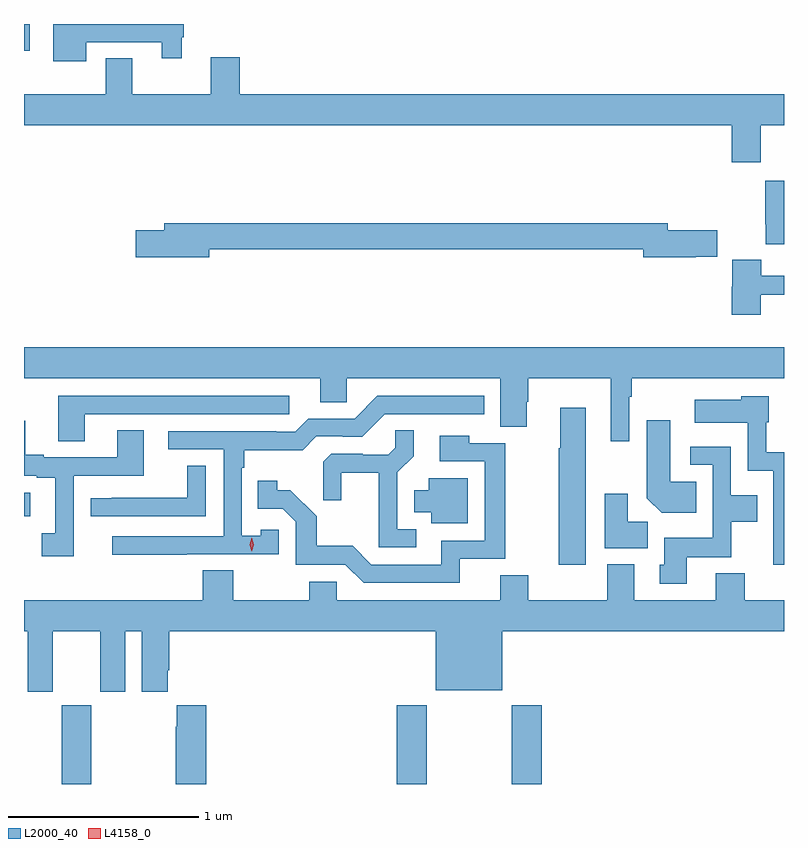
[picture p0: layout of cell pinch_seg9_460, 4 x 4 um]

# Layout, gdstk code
import gdstk
lib = gdstk.Library(unit=1e-6, precision=1e-09)
def R(c, l, rs):  # rectangles x0, y0, x1, y1
    for r in rs: c.add(gdstk.rectangle(r[:2], r[2:], *l))
def P(c, l, *ps):  # polygons
    for p in ps: c.add(gdstk.Polygon(p, *l))
L2000_40 = (2000, 40)
L4158_0 = (4158, 0)

pinch_seg9_460 = lib.new_cell('pinch_seg9_460')
R(pinch_seg9_460, L2000_40, [(350.317,1196.949,350.472,1197.364), (352.079,1196.949,352.239,1197.364), (352.684,1196.949,352.844,1197.364), (350.118,1198.359,350.152,1198.483), (350.118,1200.807,350.148,1200.949)])
P(pinch_seg9_460, L2000_40, [(350.446,1200.854),(350.843,1200.854),(350.843,1200.768),(350.947,1200.768),(350.947,1200.88),(350.96,1200.88),(350.96,1200.949),(350.273,1200.949),(350.273,1200.752),(350.446,1200.752)],
  [(353.995,1200.416),(354.118,1200.416),(354.118,1200.58),(351.254,1200.58),(351.254,1200.775),(351.101,1200.775),(351.101,1200.58),(350.689,1200.58),(350.689,1200.769),(350.549,1200.769),(350.549,1200.58),(350.118,1200.58),(350.118,1200.416),(353.843,1200.416),(353.843,1200.222),(353.995,1200.222)],
  [(354.118,1200.124),(354.02,1200.124),(354.02,1199.896),(354.022,1199.896),(354.022,1199.789),(354.118,1199.789)],
  [(351.094,1199.764),(353.378,1199.764),(353.378,1199.722),(353.654,1199.722),(353.654,1199.724),(353.767,1199.724),(353.767,1199.864),(353.506,1199.864),(353.506,1199.9),(350.855,1199.9),(350.855,1199.864),(350.706,1199.864),(350.706,1199.722),(351.094,1199.722)],
  [(353.995,1199.523),(354.118,1199.523),(354.118,1199.623),(353.998,1199.623),(353.998,1199.707),(353.846,1199.707),(353.846,1199.565),(353.843,1199.565),(353.843,1199.418),(353.995,1199.418)],
  [(353.304,1198.988),(353.317,1198.988),(353.317,1199.084),(354.118,1199.084),(354.118,1199.248),(350.118,1199.248),(350.118,1199.084),(351.677,1199.084),(351.677,1198.957),(351.816,1198.957),(351.816,1199.084),(352.625,1199.084),(352.625,1198.828),(352.765,1198.828),(352.765,1198.962),(352.773,1198.962),(352.773,1199.084),(353.207,1199.084),(353.207,1198.752),(353.304,1198.752)],
  [(350.437,1198.896),(351.514,1198.896),(351.514,1198.992),(350.297,1198.992),(350.297,1198.753),(350.437,1198.753)],
  [(350.975,1198.158),(351.459,1198.158),(351.459,1198.287),(351.363,1198.287),(351.363,1198.255),(351.264,1198.255),(351.264,1198.613),(351.277,1198.613),(351.277,1198.706),(351.584,1198.706),(351.657,1198.779),(351.796,1198.779),(351.796,1198.776),(351.897,1198.776),(352.017,1198.896),(352.54,1198.896),(352.54,1198.992),(351.978,1198.992),(351.858,1198.872),(351.615,1198.872),(351.546,1198.803),(351.446,1198.803),(351.446,1198.806),(350.877,1198.806),(350.877,1198.71),(351.168,1198.71),(351.168,1198.254),(350.583,1198.254),(350.583,1198.156),(350.975,1198.156)],
  [(354.118,1198.695),(354.024,1198.695),(354.024,1198.854),(354.037,1198.854),(354.037,1198.99),(353.892,1198.99),(353.892,1198.972),(353.649,1198.972),(353.649,1198.85),(353.928,1198.85),(353.928,1198.598),(354.062,1198.598),(354.062,1198.104),(354.118,1198.104)],
  [(353.074,1198.93),(352.94,1198.93),(352.94,1198.717),(352.933,1198.717),(352.933,1198.104),(353.074,1198.104)],
  [(353.657,1198.54),(353.518,1198.54),(353.518,1198.864),(353.396,1198.864),(353.396,1198.454),(353.474,1198.376),(353.657,1198.376)],
  [(350.379,1198.572),(350.749,1198.572),(350.749,1198.811),(350.609,1198.811),(350.609,1198.668),(350.221,1198.668),(350.221,1198.681),(350.125,1198.681),(350.125,1198.861),(350.118,1198.861),(350.118,1198.572),(350.186,1198.572),(350.186,1198.56),(350.282,1198.56),(350.282,1198.269),(350.211,1198.269),(350.211,1198.149),(350.379,1198.149)],
  [(352.183,1198.29),(352.083,1198.29),(352.083,1198.589),(352.169,1198.675),(352.169,1198.811),(352.071,1198.811),(352.071,1198.72),(352.034,1198.683),(351.9,1198.683),(351.9,1198.686),(351.735,1198.686),(351.694,1198.645),(351.694,1198.443),(351.788,1198.443),(351.788,1198.586),(351.986,1198.586),(351.986,1198.194),(352.183,1198.194)],
  [(352.412,1198.134),(352.651,1198.134),(352.651,1198.743),(352.461,1198.743),(352.461,1198.783),(352.305,1198.783),(352.305,1198.647),(352.542,1198.647),(352.542,1198.23),(352.313,1198.23),(352.313,1198.104),(351.945,1198.104),(351.847,1198.203),(351.658,1198.203),(351.658,1198.358),(351.52,1198.496),(351.45,1198.496),(351.45,1198.546),(351.349,1198.546),(351.349,1198.398),(351.48,1198.398),(351.549,1198.329),(351.549,1198.104),(351.81,1198.104),(351.906,1198.008),(352.412,1198.008)],
  [(353.605,1198.142),(353.841,1198.142),(353.841,1198.328),(353.977,1198.328),(353.977,1198.468),(353.838,1198.468),(353.838,1198.725),(353.625,1198.725),(353.625,1198.629),(353.742,1198.629),(353.742,1198.246),(353.489,1198.246),(353.489,1198.104),(353.465,1198.104),(353.465,1198.002),(353.605,1198.002)],
  [(351.075,1198.625),(350.977,1198.625),(350.977,1198.455),(350.581,1198.455),(350.581,1198.454),(350.469,1198.454),(350.469,1198.359),(351.075,1198.359)],
  [(352.453,1198.558),(352.247,1198.558),(352.247,1198.495),(352.172,1198.495),(352.172,1198.379),(352.262,1198.379),(352.262,1198.322),(352.453,1198.322)],
  [(353.401,1198.328),(353.296,1198.328),(353.296,1198.477),(353.174,1198.477),(353.174,1198.19),(353.401,1198.19)],
  [(350.269,1197.752),(350.519,1197.752),(350.519,1197.435),(350.65,1197.435),(350.65,1197.752),(350.738,1197.752),(350.738,1197.435),(350.875,1197.435),(350.875,1197.547),(350.882,1197.547),(350.882,1197.752),(352.286,1197.752),(352.286,1197.443),(352.636,1197.443),(352.636,1197.752),(354.118,1197.752),(354.118,1197.916),(353.912,1197.916),(353.912,1198.057),(353.759,1198.057),(353.759,1197.916),(353.329,1197.916),(353.329,1198.105),(353.189,1198.105),(353.189,1197.916),(352.773,1197.916),(352.773,1198.049),(352.625,1198.049),(352.625,1197.916),(351.765,1197.916),(351.765,1198.014),(351.619,1198.014),(351.619,1197.916),(351.219,1197.916),(351.219,1198.073),(351.059,1198.073),(351.059,1197.916),(350.118,1197.916),(350.118,1197.752),(350.138,1197.752),(350.138,1197.435),(350.269,1197.435)],
  [(351.077,1197.364),(350.921,1197.364),(350.921,1197.251),(350.917,1197.251),(350.917,1196.949),(351.077,1196.949)])
P(pinch_seg9_460, L4158_0, [(351.316,1198.173),(351.316,1198.174),(351.306,1198.209),(351.316,1198.245),(351.316,1198.245),(351.316,1198.245),(351.326,1198.209),(351.316,1198.174)])

lib.write_gds('pinch_seg9_460.gds')
